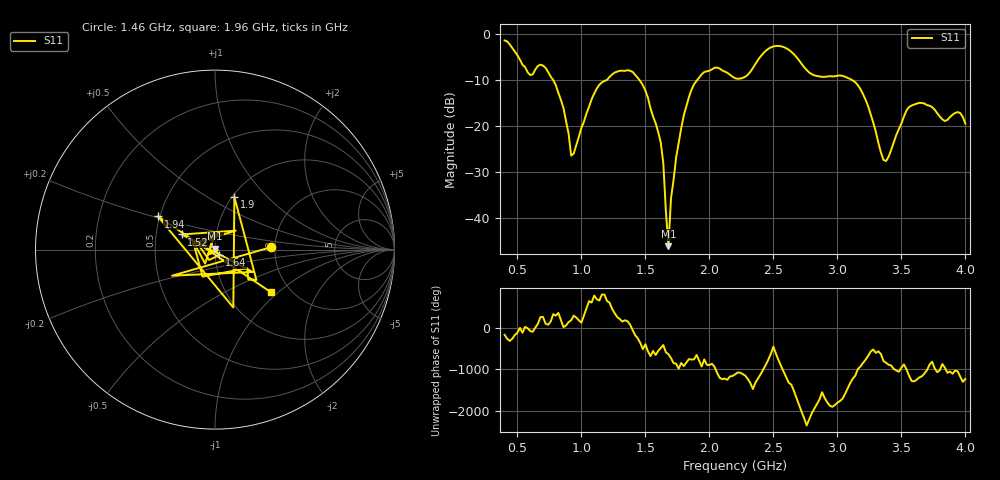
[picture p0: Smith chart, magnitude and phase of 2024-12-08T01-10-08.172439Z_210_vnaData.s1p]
!Created with skrf (http://scikit-rf.org).
# Hz S RI R 50.0
!freq ReS11 ImS11
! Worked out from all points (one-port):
!   181 points, 400 MHz to 4 GHz, reference 50 ohm
!   lowest |S11| = -46.1 dB at 1.68 GHz (marker M1), VSWR 1.01, Z = 50 + j0.493 ohm
!   |S11| at or under -10 dB: 780.6 MHz to 1.192 GHz (411.8 MHz wide, 41.7 % of centre); 1.455 GHz to 1.903 GHz (448.2 MHz wide, 26.7 % of centre); 3.118 GHz to end of sweep
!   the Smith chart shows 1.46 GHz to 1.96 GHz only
!   S11 on the Smith chart (normalised r, x): 1.46 GHz: 1.89, +0.05; 1.52 GHz: 0.68, +0.12; 1.64 GHz: 1.05, -0.06; 1.9 GHz: 1.02, +0.66; 1.94 GHz: 0.49, +0.21; 1.96 GHz: 1.59, -0.89
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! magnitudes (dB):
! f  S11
! 400 MHz  -1.3
! 600 MHz  -8.8
! 720 MHz  -7.3
! 860 MHz  -16.0
! 920 MHz  -26.4
! 1.12 GHz  -11.8
! 1.3 GHz  -7.9
! 1.46 GHz  -10.2
! 1.52 GHz  -13.8
! 1.62 GHz  -23.6
! 1.64 GHz  -28.1
! 1.68 GHz  -46.1
! 1.7 GHz  -35.7
! 1.76 GHz  -23.7
! 1.82 GHz  -15.6
! 1.9 GHz  -10.1
! 1.94 GHz  -8.7
! 1.96 GHz  -8.2
! 2.2 GHz  -9.5
! 2.48 GHz  -2.8
! 2.66 GHz  -4.3
! 2.82 GHz  -8.9
! 3.1 GHz  -9.7
! 3.22 GHz  -14.2
! 3.36 GHz  -27.3
! 3.56 GHz  -15.8
! 3.94 GHz  -16.9
! 4 GHz  -19.4
